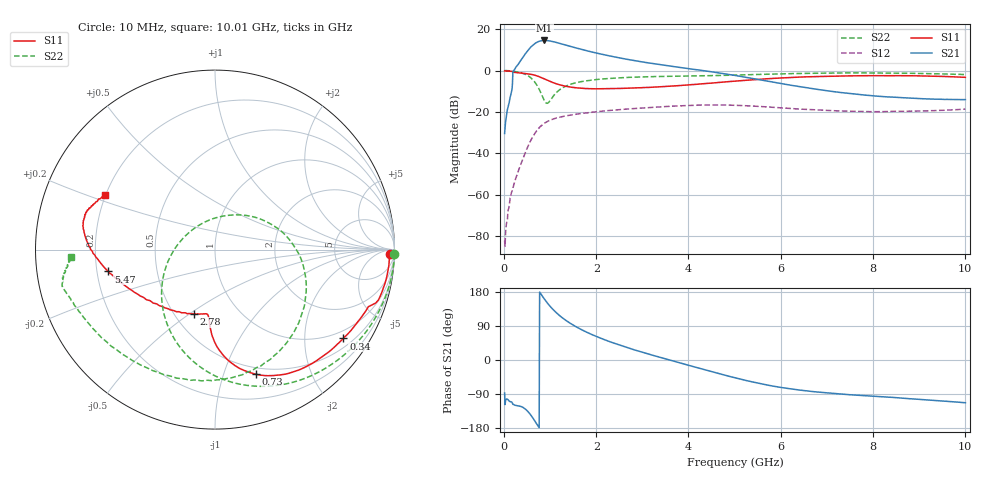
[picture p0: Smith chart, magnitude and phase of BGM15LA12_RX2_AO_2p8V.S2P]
!Agilent Technologies,E5071C,MY46317100,A.11.08
!Date: Fri Dec 19 15:55:31 2014
!Data & Calibration Information:
!Freq	S11:SOLT2(ON)	S21:SOLT2(ON)	S12:SOLT2(ON)	S22:SOLT2(ON)
!PortZ  Port1:50+j0  Port2:50+j0
!Above PortZ is port z conversion or system Z0 setting when saving the data.
!When reading, reference impedance value at option line is always used.
# Hz S RI R 50
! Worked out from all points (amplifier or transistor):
!   1001 points, 10 MHz to 10.01 GHz, reference 50 ohm
!   highest |S21| = 14.5 dB at 870 MHz (marker M1)
!   |S21| within 3 dB of that: 586.3 MHz to 1.461 GHz (874.7 MHz wide, 85.4 % of centre)
!   unconditionally stable (mu >= 1): start of sweep to end of sweep
!   at 1.67 GHz: K = 1.23, MAG = 12.6 dB, |S12| = -20.7 dB
!   at 5.01 GHz: K = 1.69, MAG = 2.4 dB, |S12| = -16.8 dB
!   at 10.01 GHz: K = 4.64, MAG = -7.3 dB, |S12| = -18.6 dB
!   lowest NFmin = 0.90 dB at 650 MHz
!   S11 on the Smith chart (normalised r, x): 10 MHz: 40, -39; 340 MHz: 0.75, -3.03; 730 MHz: 0.43, -1.29; 2.78 GHz: 0.62, -0.52; 5.47 GHz: 0.25, -0.10; 10.01 GHz: 0.20, +0.22
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1e7  0.9745 -0.0247  0.00164 -0.0302  7.8e-05 -1.14e-05  0.9993 -0.0256
1.3e8  0.9364 -0.218  -0.0771 -0.2151  -0.000768 0.000354  0.9281 -0.3134
2.3e8  0.8203 -0.3702  -0.5264 -0.9407  -0.00199 0.000622  0.7933 -0.5161
3.4e8  0.7152 -0.4952  -0.8548 -1.377  -0.0046 0.000958  0.5761 -0.6832
4.5e8  0.5993 -0.595  -1.528 -1.911  -0.00976 0.00173  0.2931 -0.7614
5.7e8  0.449 -0.6771  -2.908 -2.115  -0.0189 0.0062  -0.0461 -0.6778
6.5e8  0.3361 -0.7007  -4.032 -1.628  -0.0253 0.0134  -0.2215 -0.5058
7.3e8  0.2265 -0.6942  -4.872 -0.5971  -0.0294 0.0243  -0.2965 -0.2796
8e8  0.1439 -0.6653  -5.162 0.5533  -0.0297 0.0353  -0.2706 -0.0885
8.7e8  0.0814 -0.6236  -5.023 1.688  -0.0269 0.0459  -0.1822 0.0583
1.01e9  0.00891 -0.5375  -3.906 3.285  -0.015 0.0625  0.0549 0.1884
1.16e9  -0.0195 -0.4669  -2.446 3.966  0.000641 0.0727  0.2662 0.1649
1.4e9  -0.0305 -0.4042  -0.6522 3.86  0.0239 0.0793  0.4479 0.00837
1.68e9  -0.036 -0.3716  0.56 3.175  0.0471 0.0793  0.5079 -0.185
2.14e9  -0.0547 -0.3576  1.386 2.008  0.078 0.0706  0.4579 -0.4269
2.78e9  -0.1168 -0.3577  1.556 0.8426  0.1101 0.0482  0.2923 -0.6213
3.35e9  -0.2096 -0.346  1.387 0.197  0.1307 0.0207  0.1184 -0.7059
5.01e9  -0.5235 -0.1842  0.5193 -0.5558  0.1191 -0.0825  -0.4943 -0.5959
5.47e9  -0.5943 -0.1217  0.3106 -0.539  0.0961 -0.0983  -0.6376 -0.4849
6.68e9  -0.7072 0.0337  0.0448 -0.3639  0.0495 -0.1027  -0.8163 -0.2585
8.35e9  -0.7265 0.1794  -0.0325 -0.2278  0.0239 -0.1  -0.8469 -0.1765
1.001e10  -0.6147 0.3019  -0.077 -0.1836  -0.00244 -0.117  -0.8 -0.04
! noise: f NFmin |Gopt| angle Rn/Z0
6.5e+08  0.904  0.3925  41.41  0.3292
6.6e+08  0.9172  0.4162  45.39  0.2245
7e+08  0.9392  0.3732  49.38  0.2047
8e+08  0.9619  0.3948  57.88  0.193
8.5e+08  0.9917  0.3863  61.01  0.1905
9.5e+08  1.01  0.3768  66.15  0.1894
1e+09  1.026  0.4022  68.35  0.1878
1.3e+09  1.105  0.3719  87.34  0.1667
1.4e+09  1.152  0.3645  93.77  0.161
1.6e+09  1.218  0.3391  106.8  0.1478
